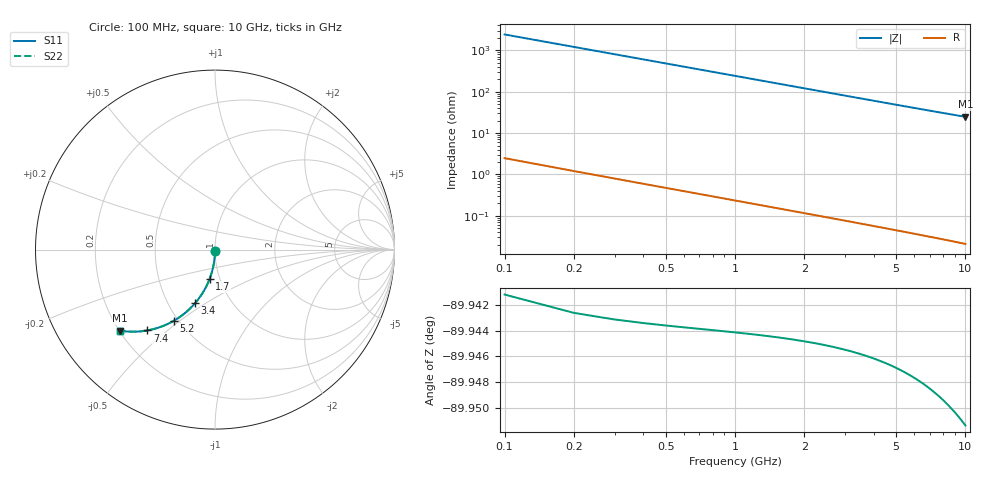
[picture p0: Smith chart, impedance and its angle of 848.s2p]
# Hz S RI R 50.00
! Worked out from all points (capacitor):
!   100 points, 100 MHz to 10 GHz, reference 50 ohm
!   read as one part in shunt: C = 660 fF near 100 MHz
!   lowest |Z| = 24.7 ohm at 10 GHz (marker M1)
!   S11 on the Smith chart (normalised r, x): 100 MHz: 1.00, -0.02; 1.7 GHz: 0.89, -0.30; 3.4 GHz: 0.68, -0.45; 5.2 GHz: 0.48, -0.48; 7.4 GHz: 0.31, -0.43; 10 GHz: 0.20, -0.36
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1e8  3.98e-06 -0.00992  0.9998 -0.0108  0.9998 -0.0108  3.98e-06 -0.00992
2e8  -0.000327 -0.0198  0.9994 -0.0216  0.9994 -0.0216  -0.000327 -0.0198
3e8  -0.000873 -0.0297  0.9989 -0.0324  0.9989 -0.0324  -0.000873 -0.0297
4e8  -0.00163 -0.0396  0.9981 -0.0432  0.9981 -0.0432  -0.00163 -0.0396
5e8  -0.0026 -0.0495  0.9971 -0.054  0.9971 -0.054  -0.0026 -0.0495
6e8  -0.00379 -0.0593  0.9959 -0.0647  0.9959 -0.0647  -0.00379 -0.0593
8e8  -0.00678 -0.0788  0.9929 -0.086  0.9929 -0.086  -0.00678 -0.0788
1.1e9  -0.0128 -0.1077  0.9869 -0.1176  0.9869 -0.1176  -0.0128 -0.1077
1.4e9  -0.0206 -0.1359  0.979 -0.1486  0.979 -0.1486  -0.0206 -0.1359
1.7e9  -0.0302 -0.1634  0.9694 -0.1788  0.9694 -0.1788  -0.0302 -0.1634
1.8e9  -0.0337 -0.1724  0.9659 -0.1887  0.9659 -0.1887  -0.0337 -0.1724
2.1e9  -0.0454 -0.1986  0.9542 -0.2177  0.9542 -0.2177  -0.0454 -0.1986
2.5e9  -0.0632 -0.232  0.9363 -0.2547  0.9363 -0.2547  -0.0632 -0.232
2.9e9  -0.0833 -0.2632  0.9161 -0.2895  0.9161 -0.2895  -0.0833 -0.2632
3.4e9  -0.1112 -0.2989  0.888 -0.3298  0.888 -0.3298  -0.1112 -0.2989
4.2e9  -0.1607 -0.3481  0.8383 -0.3864  0.8383 -0.3864  -0.1607 -0.3481
5.1e9  -0.2208 -0.3914  0.7778 -0.4381  0.7778 -0.4381  -0.2208 -0.3914
5.2e9  -0.2276 -0.3955  0.7709 -0.443  0.7709 -0.443  -0.2276 -0.3955
6.7e9  -0.3301 -0.4393  0.6677 -0.5009  0.6677 -0.5009  -0.3301 -0.4393
7.4e9  -0.3763 -0.4501  0.6211 -0.5184  0.6211 -0.5184  -0.3763 -0.4501
8.4e9  -0.4387 -0.457  0.558 -0.5348  0.558 -0.5348  -0.4387 -0.457
1e10  -0.5278 -0.4519  0.4675 -0.5452  0.4675 -0.5452  -0.5278 -0.4519
